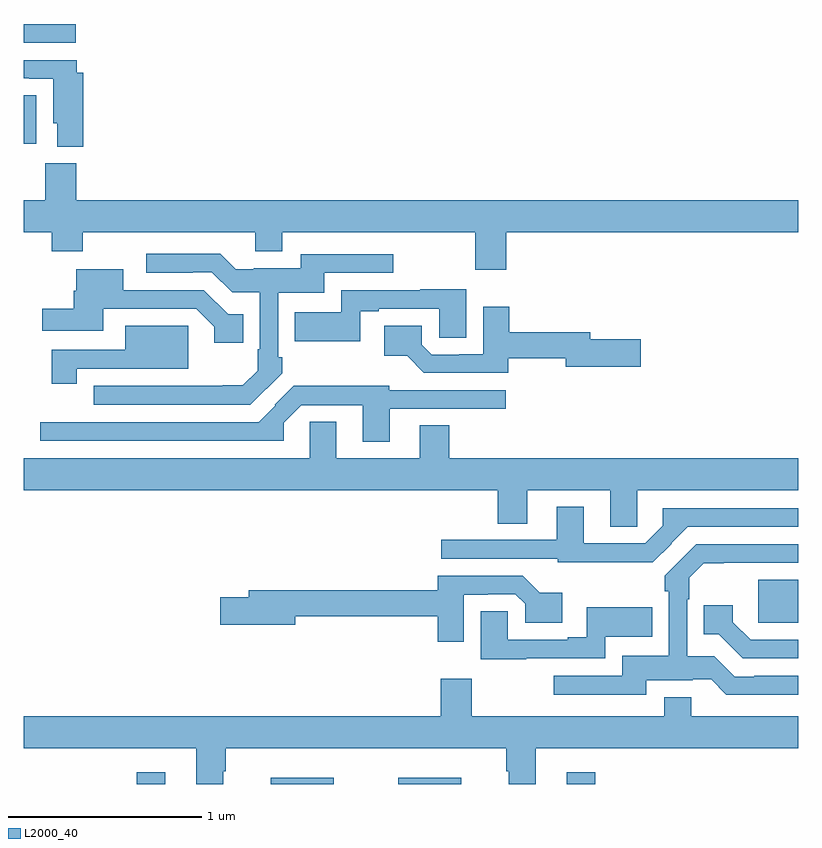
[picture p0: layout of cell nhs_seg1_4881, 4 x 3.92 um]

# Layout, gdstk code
import gdstk
lib = gdstk.Library(unit=1e-6, precision=1e-09)
def R(c, l, rs):  # rectangles x0, y0, x1, y1
    for r in rs: c.add(gdstk.rectangle(r[:2], r[2:], *l))
def P(c, l, *ps):  # polygons
    for p in ps: c.add(gdstk.Polygon(p, *l))
L2000_40 = (2000, 40)

nhs_seg1_4881 = lib.new_cell('nhs_seg1_4881')
R(nhs_seg1_4881, L2000_40, [(375.584,566.199,375.73,566.26), (376.275,566.199,376.6,566.23), (376.935,566.199,377.259,566.23), (377.804,566.199,377.951,566.26), (378.794,567.032,379,567.253), (375,569.506,375.064,569.756), (375,570.027,375.268,570.123)])
P(nhs_seg1_4881, L2000_40, [(375.308,569.871),(375.274,569.871),(375.274,569.937),(375,569.937),(375,569.844),(375.028,569.844),(375.028,569.841),(375.152,569.841),(375.152,569.61),(375.173,569.61),(375.173,569.489),(375.308,569.489)],
  [(377.492,569.048),(379,569.048),(379,569.212),(375.272,569.212),(375.272,569.404),(375.112,569.404),(375.112,569.212),(375,569.212),(375,569.048),(375.146,569.048),(375.146,568.949),(375.306,568.949),(375.306,569.048),(376.196,569.048),(376.196,568.949),(376.336,568.949),(376.336,569.048),(377.332,569.048),(377.332,568.854),(377.492,568.854)],
  [(376.334,568.321),(376.334,568.402),(376.314,568.402),(376.314,568.736),(376.552,568.736),(376.552,568.839),(376.909,568.839),(376.909,568.935),(376.43,568.935),(376.43,568.861),(376.189,568.861),(376.189,568.857),(376.095,568.857),(376.016,568.936),(375.633,568.936),(375.633,568.839),(375.872,568.839),(375.872,568.842),(375.972,568.842),(376.077,568.737),(376.218,568.737),(376.218,568.444),(376.208,568.444),(376.208,568.332),(376.132,568.257),(376.028,568.257),(376.028,568.254),(375.363,568.254),(375.363,568.158),(376.171,568.158)],
  [(376.133,568.624),(376.056,568.624),(375.931,568.749),(375.514,568.749),(375.514,568.858),(375.272,568.858),(375.272,568.746),(375.26,568.746),(375.26,568.652),(375.096,568.652),(375.096,568.538),(375.412,568.538),(375.412,568.653),(375.891,568.653),(375.983,568.561),(375.983,568.476),(376.133,568.476)],
  [(376.737,568.641),(376.834,568.641),(376.834,568.653),(377.145,568.653),(377.145,568.504),(377.284,568.504),(377.284,568.754),(377.048,568.754),(377.048,568.749),(376.641,568.749),(376.641,568.636),(376.399,568.636),(376.399,568.484),(376.737,568.484)],
  [(377.502,568.396),(377.798,568.396),(377.798,568.354),(378.187,568.354),(378.187,568.496),(377.926,568.496),(377.926,568.532),(377.507,568.532),(377.507,568.663),(377.372,568.663),(377.372,568.419),(377.248,568.419),(377.248,568.416),(377.106,568.416),(377.055,568.467),(377.055,568.564),(376.863,568.564),(376.863,568.409),(376.98,568.409),(377.066,568.323),(377.502,568.323)],
  [(375.274,568.344),(375.628,568.344),(375.628,568.343),(375.85,568.343),(375.85,568.564),(375.524,568.564),(375.524,568.44),(375.144,568.44),(375.144,568.266),(375.274,568.266)],
  [(376.891,568.137),(377.488,568.137),(377.488,568.233),(376.887,568.233),(376.887,568.254),(376.395,568.254),(376.297,568.156),(376.3,568.153),(376.215,568.068),(375.087,568.068),(375.087,567.972),(376.344,567.972),(376.344,568.065),(376.434,568.155),(376.751,568.155),(376.751,567.966),(376.891,567.966)],
  [(378.168,567.716),(379,567.716),(379,567.88),(377.198,567.88),(377.198,568.052),(377.045,568.052),(377.045,567.88),(376.615,567.88),(376.615,568.07),(376.476,568.07),(376.476,567.88),(375,567.88),(375,567.716),(377.447,567.716),(377.447,567.544),(377.599,567.544),(377.599,567.716),(378.029,567.716),(378.029,567.526),(378.168,567.526)],
  [(378.347,567.44),(378.344,567.443),(378.429,567.528),(379,567.528),(379,567.624),(378.301,567.624),(378.301,567.532),(378.21,567.441),(377.893,567.441),(377.893,567.631),(377.753,567.631),(377.753,567.459),(377.157,567.459),(377.157,567.363),(377.757,567.363),(377.757,567.343),(378.249,567.343)],
  [(379,566.757),(378.772,566.757),(378.772,566.754),(378.672,566.754),(378.567,566.859),(378.426,566.859),(378.426,567.152),(378.436,567.152),(378.436,567.264),(378.512,567.34),(378.616,567.34),(378.616,567.342),(379,567.342),(379,567.438),(378.473,567.438),(378.31,567.275),(378.31,567.194),(378.33,567.194),(378.33,566.86),(378.092,566.86),(378.092,566.757),(377.736,566.757),(377.736,566.661),(378.214,566.661),(378.214,566.735),(378.455,566.735),(378.455,566.739),(378.549,566.739),(378.628,566.66),(379,566.66)],
  [(377.272,567.177),(377.396,567.177),(377.396,567.18),(377.538,567.18),(377.589,567.129),(377.589,567.032),(377.782,567.032),(377.782,567.187),(377.664,567.187),(377.578,567.273),(377.138,567.273),(377.138,567.2),(376.163,567.2),(376.163,567.164),(376.014,567.164),(376.014,567.022),(376.402,567.022),(376.402,567.064),(377.138,567.064),(377.138,566.934),(377.272,566.934)],
  [(379,566.943),(378.753,566.943),(378.661,567.035),(378.661,567.121),(378.511,567.121),(378.511,566.972),(378.588,566.972),(378.713,566.847),(379,566.847)],
  [(377.596,566.847),(378.003,566.847),(378.003,566.96),(378.245,566.96),(378.245,567.112),(377.907,567.112),(377.907,566.956),(377.81,566.956),(377.81,566.943),(377.499,566.943),(377.499,567.092),(377.36,567.092),(377.36,566.842),(377.596,566.842)],
  [(376.03,566.264),(376.043,566.264),(376.043,566.384),(377.492,566.384),(377.492,566.264),(377.504,566.264),(377.504,566.199),(377.644,566.199),(377.644,566.384),(379,566.384),(379,566.548),(378.448,566.548),(378.448,566.647),(378.308,566.647),(378.308,566.548),(377.313,566.548),(377.313,566.743),(377.153,566.743),(377.153,566.548),(375,566.548),(375,566.384),(375.89,566.384),(375.89,566.199),(376.03,566.199)])

lib.write_gds('nhs_seg1_4881.gds')
